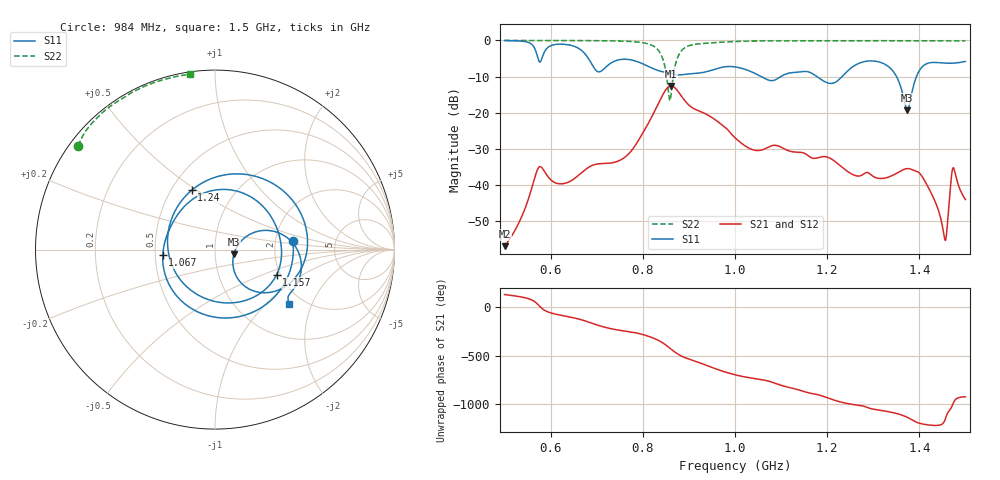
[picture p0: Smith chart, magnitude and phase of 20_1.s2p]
! TOUCHSTONE file generated by CST MICROWAVE STUDIO
! Date and time: Sat Nov 14 20:37:33 2020
! Project name: Scenario_1_Planar_Body_Tissue_Out_of_Line_v2.cst
! Parameters = {dy1=17.3; L_HA=400; Ltissue=700; MT=2.54; Rad_Dielectric=30; Rad_Lower=7.3; Rad_Upper=30; Wtissue=700; a_HA=580; a_WG=246; b_HA=500; b_WG=121; c_HA=0; c_WG=187; d_feed=85; dx1=173; h_feed=15; h_lower=18; h_upper=40; hfat=3; hgap=25; hmuscle=50; hskin=1.5}
! Header version: 2018
! Port assignment regex: !\s*Touchstone port\s*([0-9]+)\s*=\s*(CST MWS port|CST DS port)\s*([0-9]+|Zmin|Zmax)\s*\(\"(.*)\"\)(\s*mode\s*([0-9]+))?.*
! Touchstone port assignment:
! Touchstone port 1 = CST MWS port 1 ("")
! Touchstone port 2 = CST MWS port 2 ("")
# GHz S DB R 50
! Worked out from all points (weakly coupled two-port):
!   1003 points, 500 MHz to 1.5 GHz, reference 50 ohm
!   highest |S21| = -12.56 dB at 861 MHz (marker M1); lowest = -56.9 dB at 500 MHz (marker M2)
!   lowest |S11| = -19.3 dB at 1.374 GHz (marker M3), VSWR 1.24, Z = 61.6 - j3.39 ohm
!   |S11| at or under -10 dB: 1.057 GHz to 1.099 GHz (42.41 MHz wide, 3.93 % of centre); 1.178 GHz to 1.232 GHz (54.31 MHz wide, 4.51 % of centre); 1.351 GHz to 1.394 GHz (43.2 MHz wide, 3.15 % of centre)
!   |S22| runs from -16.6 to 0.0 dB; largest |S21 - S12| = 8.3e-05
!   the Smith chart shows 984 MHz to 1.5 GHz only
!   S11 on the Smith chart (normalised r, x): 984 MHz: 2.50, +0.31; 1.067 GHz: 0.55, -0.04; 1.157 GHz: 1.91, -0.62; 1.24 GHz: 0.63, +0.48; 1.5 GHz: 1.70, -1.39
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0.5  -0.04 -121.7  -56.88 131.9  -56.88 131.9  -0.01 151.2
0.575  -5.84 -162.5  -35.00 16.0  -35.00 16.0  -0.02 146.0
0.627  -1.06 172.9  -39.60 -87.4  -39.60 -87.4  -0.03 142.0
0.667  -2.77 108.1  -36.55 -130.2  -36.55 -130.2  -0.04 138.4
0.692  -7.16 23.6  -34.46 -169.6  -34.46 -169.6  -0.06 135.8
0.716  -7.81 -93.8  -34.03 154.6  -34.03 154.6  -0.09 132.9
0.755  -5.22 167.2  -32.81 117.3  -32.81 117.3  -0.18 126.6
0.834  -8.37 8.7  -17.37 16.2  -17.37 16.2  -2.78 84.6
0.861  -9.06 -63.5  -12.56 -73.2  -12.56 -73.2  -15.25 -82.5
0.892  -9.38 -148.0  -16.78 -163.0  -16.78 -163.0  -1.94 174.5
0.941  -8.55 95.1  -20.63 112.8  -20.63 112.8  -0.74 150.4
0.984  -7.22 6.6  -24.65 41.7  -24.65 41.7  -0.39 142.9
1  -7.32 -25.5  -26.89 20.4  -26.89 20.4  -0.30 140.6
1.067  -10.67 -173.8  -29.84 -38.2  -29.84 -38.2  -0.14 132.8
1.157  -8.63 -22.3  -31.68 -163.7  -31.68 -163.7  -0.10 124.9
1.167  -9.12 -44.4  -32.50 -173.9  -32.50 -173.9  -0.10 124.1
1.24  -8.99 111.4  -35.83 86.2  -35.83 86.2  -0.09 118.7
1.334  -7.33 -30.3  -37.74 -3.1  -37.74 -3.1  -0.08 111.6
1.374  -19.31 -14.5  -35.43 -61.0  -35.43 -61.0  -0.09 108.5
1.455  -6.27 -29.0  -54.89 -95.8  -54.88 -95.9  -0.10 102.0
1.474  -6.28 -32.9  -35.20 91.0  -35.21 90.8  -0.11 100.3
1.5  -5.80 -36.1  -43.98 152.6  -43.98 152.6  -0.12 98.0
